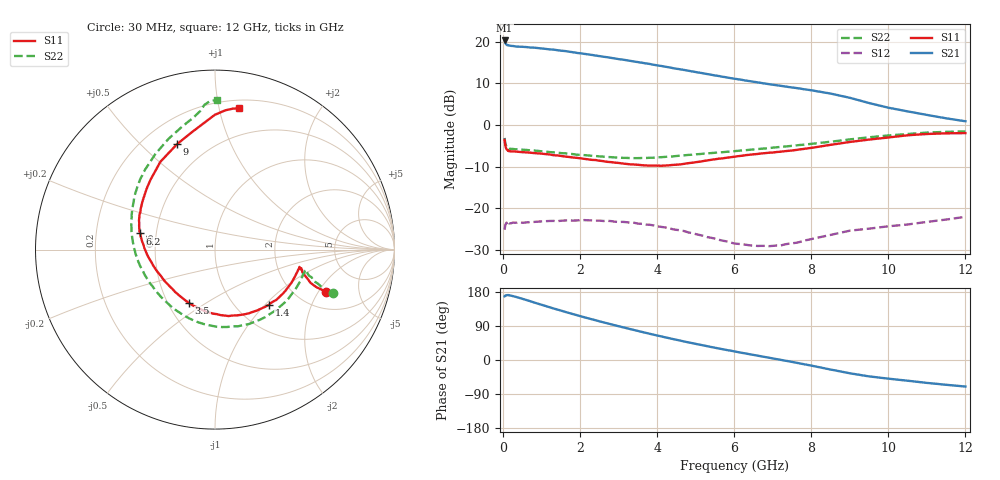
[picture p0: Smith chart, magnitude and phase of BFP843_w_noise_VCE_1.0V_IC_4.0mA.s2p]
! Infineon Technologies  Discrete & RF Semiconductors
! BFP843
! VCE =  1.0 V,  IC =  4.0 mA
! Common Emitter S-Parameters:  Aug 2013
# GHz  S  MA  R  50
!  f  S11  S21  S12  S22
! GHz  MAG  ANG  MAG  ANG  MAG  ANG  MAG  ANG
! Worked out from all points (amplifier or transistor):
!   103 points, 30 MHz to 12 GHz, reference 50 ohm
!   highest |S21| = 20.3 dB at 30 MHz (marker M1)
!   |S21| within 3 dB of that: start of sweep to 1.919 GHz
!   unconditionally stable (mu >= 1): 147.8 MHz to 761.6 MHz; 2.559 GHz to 11.3 GHz
!   at 400 MHz: K = 1.01, MAG = 20.6 dB, |S12| = -23.3 dB
!   at 3.7 GHz: K = 1.17, MAG = 16.9 dB, |S12| = -23.9 dB
!   at 12 GHz: K = 0.89, MSG = 11.5 dB, |S12| = -22.1 dB
!   lowest NFmin = 0.97 dB at 450 MHz
!   S11 on the Smith chart (normalised r, x): 30 MHz: 2.80, -2.33; 1.4 GHz: 1.39, -1.05; 3.5 GHz: 0.64, -0.43; 6.2 GHz: 0.41, +0.09; 9 GHz: 0.34, +0.65; 12 GHz: 0.27, +1.15
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0.03  0.661 -20.8  10.35 168.0  0.0551 36.9  0.6972 -20.1
0.04  0.6011 -20.3  9.889 168.4  0.0594 27.3  0.6351 -19.5
0.05  0.5639 -19.2  9.607 170.2  0.0629 22.8  0.6036 -18.3
0.07  0.5221 -16.1  9.273 170.8  0.0649 17.4  0.5601 -16.0
0.13  0.4927 -12.3  9.027 171.4  0.0653 9.8  0.5195 -13.2
0.8  0.4583 -27.1  8.477 151.7  0.0683 -0.6  0.4918 -33.8
1.1  0.4454 -36.2  8.189 142.3  0.0697 -3.2  0.4775 -45.7
1.4  0.4297 -45.8  7.904 133.1  0.0698 -5.3  0.4639 -57.4
1.7  0.4122 -55.4  7.589 124.2  0.0712 -7.7  0.4496 -69.2
2.1  0.3909 -68.6  7.143 112.8  0.0718 -11.6  0.4334 -84.7
2.7  0.3596 -88.5  6.499 96.7  0.0704 -17.2  0.4118 -106.9
3.5  0.3313 -116.0  5.679 76.5  0.0651 -26.0  0.3989 -135.9
4.1  0.323 -137.5  5.105 62.2  0.0595 -30.4  0.4096 -155.0
5  0.3567 -166.3  4.314 42.4  0.0487 -34.8  0.4438 -177.0
6.1  0.4213 169.7  3.533 20.7  0.0372 -27.3  0.4887 162.6
6.2  0.4262 167.8  3.476 18.8  0.0368 -25.6  0.4931 160.9
7.3  0.4827 147.3  2.905 -1.4  0.0366 -6.8  0.5491 143.0
8.5  0.5761 121.9  2.379 -25.2  0.0477 0.7  0.6279 121.9
9  0.6239 109.9  2.116 -35.1  0.0536 -0.3  0.6697 112.7
9.5  0.6664 101.2  1.83 -43.3  0.0567 -2.2  0.7102 104.8
10.5  0.7508 90.1  1.454 -54.7  0.0636 -4.6  0.7773 96.0
12  0.7972 80.5  1.106 -70.1  0.0786 -11.7  0.8346 89.4
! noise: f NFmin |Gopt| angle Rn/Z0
0.45  0.97  0.21  8  0.02
0.9  0.99  0.23  18  0.03
1.5  1.02  0.22  29  0.11
1.9  1.06  0.2  40  0.19
2.4  1.1  0.18  50  0.28
3.5  1.2  0.15  67  0.34
5.5  1.38  0.14  -172  0.4
10  2.27  0.52  -77  0.46
